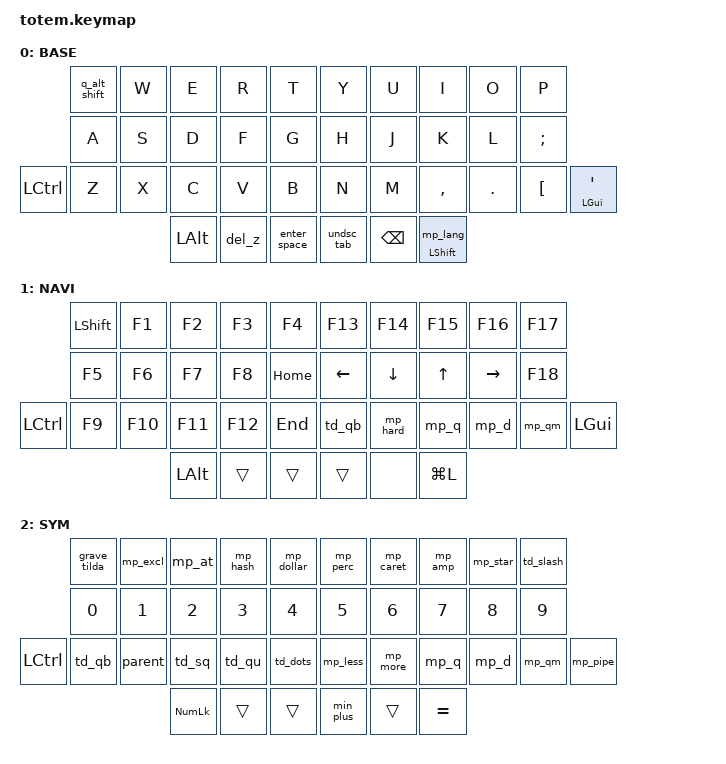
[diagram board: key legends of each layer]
//
//                                                        ▀▀▀▀▀     ▀▀▀▀▀          ▀▀█▀▀
//                                                        ▄▀▀▀▄  ▄  ▄▀▀▀▄  ▄  ▄▀▀▀▄  █  ▄▀▀▀▄
//                                                        █   █  █  █   █  █  █   █  █  █   █
//                                                         ▀▀▀   █   ▀▀▀   █   ▀▀▀   ▀   ▀▀▀
//                                                               █      ▄▄▄█▄▄▄    █   █  
//                                                               ▀      █  █  █     █▄█
//                                                             ▀▀▀▀▀    █  █  █      ▀
//                                                                      ▀  ▀  ▀
//
// ▄▄▄▄▄▄▄▄▄▄▄▄▄▄▄▄▄▄▄▄▄▄▄▄▄▄▄▄▄▄▄▄▄▄▄▄▄▄▄▄▄▄▄▄▄▄▄▄▄▄▄▄▄▄▄▄▄▄▄▄▄▄▄▄▄▄▄▄▄▄▄▄▄▄▄▄▄▄▄▄▄▄▄▄▄▄▄▄▄▄▄▄▄▄▄▄▄▄▄▄▄▄▄▄▄▄▄▄▄▄▄▄▄▄▄▄▄▄▄▄▄▄▄▄▄▄▄▄▄▄▄▄▄▄▄▄▄▄▄▄▄▄▄▄▄▄▄▄▄

#include <behaviors.dtsi>
#include <dt-bindings/zmk/bt.h>
#include <dt-bindings/zmk/keys.h>

#define BASE 0
#define NAV  1
#define SYM  2
#define ADJ  3
#define TVP1 4
#define TVP2 5

&mt {
    quick-tap-ms = <100>;
    global-quick-tap;
    flavor = "tap-preferred";
    tapping-term-ms = <170>;
};

/ {
    combos {
        compatible = "zmk,combos";

        combo_esc {
            timeout-ms = <50>;
            key-positions = <0 1>;
            bindings = <&kp ESC>;
        };

        bt_0 {
            bindings = <&bt BT_SEL 0>;
            key-positions = <0 10 21>;
        };

        bt_1 {
            bindings = <&bt BT_SEL 1>;
            key-positions = <1 11 22>;
        };

        bt_2 {
            bindings = <&bt BT_SEL 2>;
            key-positions = <2 12 23>;
        };

        bt_3 {
            bindings = <&bt BT_SEL 3>;
            key-positions = <3 24 13>;
        };

        bt_4 {
            bindings = <&bt BT_SEL 4>;
            key-positions = <4 14 25>;
        };

        print_screen {
            bindings = <&kp LS(LG(S))>;
            key-positions = <32 34 33>;
        };

        processes {
            bindings = <&kp LC(LA(DEL))>;
            key-positions = <36 37 35>;
        };

        bt_clr {
            bindings = <&bt BT_CLR>;
            key-positions = <7 17 28 5 15 26>;
        };

        bt_clr_all {
            bindings = <&bt BT_CLR_ALL>;
            key-positions = <7 17 28 2 12 23>;
        };
    };

    behaviors {
        enter_space: enter_space {
            compatible = "zmk,behavior-mod-morph";
            label = "ENTER_SPACE";
            bindings = <&lt 2 SPACE>, <&kp ENTER>;

            #binding-cells = <0>;
            mods = <(MOD_LCTL|MOD_LSFT|MOD_LALT)>;
            keep-mods = <(MOD_LSFT|MOD_LALT)>;
        };

        undsc_tab: undsc_tab {
            compatible = "zmk,behavior-mod-morph";
            label = "UNDSC_TAB";
            bindings = <&lt 1 UNDERSCORE>, <&kp TAB>;

            #binding-cells = <0>;
            mods = <(MOD_LCTL|MOD_LSFT|MOD_LALT)>;
            keep-mods = <(MOD_LSFT|MOD_LALT)>;
        };

        q_shift: q_shift {
            compatible = "zmk,behavior-mod-morph";
            label = "Q_SHIFT";
            bindings = <&mt LEFT_SHIFT Q>, <&kp LEFT_SHIFT>;

            #binding-cells = <0>;
            mods = <(MOD_LCTL)>;
            keep-mods = <(MOD_LCTL)>;
        };

        del_z: del_z {
            compatible = "zmk,behavior-mod-morph";
            label = "DEL_Z";
            bindings = <&kp DEL>, <&kp Z>;

            #binding-cells = <0>;
            mods = <(MOD_LCTL)>;
            keep-mods = <(MOD_LCTL)>;
        };

        grave_tilda: grave_tilda {
            compatible = "zmk,behavior-tap-dance";
            label = "GRAVE_TILDA";
            #binding-cells = <0>;
            bindings = <&mp_grave>, <&mp_tilda>;

            tapping-term-ms = <250>;
        };

        parent: parent {
            compatible = "zmk,behavior-tap-dance";
            label = "PARENT";
            #binding-cells = <0>;
            bindings = <&kp LEFT_PARENTHESIS>, <&kp RIGHT_PARENTHESIS>;

            tapping-term-ms = <250>;
        };

        min_plus: min_plus {
            compatible = "zmk,behavior-tap-dance";
            label = "MIN_PLUS";
            #binding-cells = <0>;
            bindings = <&kp KP_MINUS>, <&kp KP_PLUS>;

            tapping-term-ms = <250>;
        };

        td_slash: td_slash {
            compatible = "zmk,behavior-tap-dance";
            label = "TD_SLASH";
            #binding-cells = <0>;
            bindings = <&mp_fsl>, <&mp_bsl>;

            tapping-term-ms = <300>;
        };

        shift_lang: shift_lang {
            compatible = "zmk,behavior-hold-tap";
            label = "SHIFT_LANG";
            bindings = <&kp>, <&mp_lang>;

            #binding-cells = <2>;
            tapping-term-ms = <200>;
            flavor = "balanced";
        };

        td_qb: td_qb {
            compatible = "zmk,behavior-tap-dance";
            label = "TD_QB";
            #binding-cells = <0>;
            bindings = <&mp_l_qb>, <&mp_r_qb>;

            tapping-term-ms = <250>;
        };

        td_sq: td_sq {
            compatible = "zmk,behavior-tap-dance";
            label = "TD_SQ";
            #binding-cells = <0>;
            bindings = <&mp_l_sq>, <&mp_r_sq>;

            tapping-term-ms = <250>;
        };

        td_qu: td_qu {
            compatible = "zmk,behavior-tap-dance";
            label = "TD_QU";
            #binding-cells = <0>;
            bindings = <&mp_s_quote>, <&mp_d_quotes>;

            tapping-term-ms = <250>;
        };

        td_dots: td_dots {
            compatible = "zmk,behavior-tap-dance";
            label = "TD_DOTS";
            #binding-cells = <0>;
            bindings = <&mp_dd>, <&mp_dc>;

            tapping-term-ms = <250>;
        };

        q_alt_shift: q_alt_shift {
            compatible = "zmk,behavior-mod-morph";
            label = "Q_ALT_SHIFT";
            bindings = <&q_shift>, <&kp LA(TAB)>;

            #binding-cells = <0>;
            mods = <(MOD_LALT)>;
        };
    };

    macros {
        mp_excl: excl {
            compatible = "zmk,behavior-macro";
            #binding-cells = <0>;
            bindings =
                <&macro_press>,
                <&kp LEFT_ALT>,
                <&macro_tap>,
                <&kp KP_NUMBER_3 &kp KP_NUMBER_3>,
                <&macro_release>,
                <&kp LEFT_ALT>;

            label = "EXCL";
        };

        mp_hash: mp_hash {
            compatible = "zmk,behavior-macro";
            #binding-cells = <0>;
            bindings =
                <&macro_press>,
                <&kp LEFT_ALT>,
                <&macro_tap>,
                <&kp KP_NUMBER_3 &kp KP_NUMBER_5>,
                <&macro_release>,
                <&kp LEFT_ALT>;

            label = "MP_HASH";
        };

        mp_hard: mp_hard {
            compatible = "zmk,behavior-macro";
            #binding-cells = <0>;
            bindings =
                <&macro_press>,
                <&kp LEFT_ALT>,
                <&macro_tap>,
                <&kp KP_N0 &kp KP_NUMBER_2 &kp KP_NUMBER_5 &kp KP_NUMBER_0>,
                <&macro_release>,
                <&kp LEFT_ALT>;

            label = "MP_HARD";
        };

        mp_lang: mp_lang {
            compatible = "zmk,behavior-macro";
            #binding-cells = <0>;
            bindings =
                <&macro_press>,
                <&kp LEFT_ALT>,
                <&macro_tap>,
                <&kp LEFT_SHIFT>,
                <&macro_release>,
                <&kp LEFT_ALT>;

            label = "MP_LANG";
        };

        mp_l_qb: mp_l_qb {
            compatible = "zmk,behavior-macro";
            #binding-cells = <0>;
            bindings =
                <&macro_press>,
                <&kp LEFT_ALT>,
                <&macro_tap>,
                <&kp KP_NUMBER_1 &kp KP_NUMBER_2 &kp KP_NUMBER_3>,
                <&macro_release>,
                <&kp LEFT_ALT>;

            label = "MP_L_QB";
        };

        mp_r_qb: mp_r_qb {
            compatible = "zmk,behavior-macro";
            #binding-cells = <0>;
            bindings =
                <&macro_press>,
                <&kp LEFT_ALT>,
                <&macro_tap>,
                <&kp KP_NUMBER_1 &kp KP_NUMBER_2 &kp KP_NUMBER_5>,
                <&macro_release>,
                <&kp LEFT_ALT>;

            label = "MP_R_QB";
        };

        mp_l_sq: mp_l_sq {
            compatible = "zmk,behavior-macro";
            #binding-cells = <0>;
            bindings =
                <&macro_press>,
                <&kp LEFT_ALT>,
                <&macro_tap>,
                <&kp KP_NUMBER_9 &kp KP_NUMBER_1>,
                <&macro_release>,
                <&kp LEFT_ALT>;

            label = "MP_L_SQ";
        };

        mp_r_sq: mp_r_sq {
            compatible = "zmk,behavior-macro";
            #binding-cells = <0>;
            bindings =
                <&macro_press>,
                <&kp LEFT_ALT>,
                <&macro_tap>,
                <&kp KP_NUMBER_9 &kp KP_NUMBER_3>,
                <&macro_release>,
                <&kp LEFT_ALT>;

            label = "MP_R_SQ";
        };

        mp_s_quote: mp_s_quote {
            compatible = "zmk,behavior-macro";
            #binding-cells = <0>;
            bindings =
                <&macro_press>,
                <&kp LEFT_ALT>,
                <&macro_tap>,
                <&kp KP_NUMBER_3 &kp KP_NUMBER_9>,
                <&macro_release>,
                <&kp LEFT_ALT>;

            label = "MP_S_QUOTE";
        };

        mp_d_quotes: mp_d_quotes {
            compatible = "zmk,behavior-macro";
            #binding-cells = <0>;
            bindings =
                <&macro_press>,
                <&kp LEFT_ALT>,
                <&macro_tap>,
                <&kp KP_NUMBER_3 &kp KP_NUMBER_4>,
                <&macro_release>,
                <&kp LEFT_ALT>;

            label = "MP_D_QUOTES";
        };

        mp_dd: mp_dd {
            compatible = "zmk,behavior-macro";
            #binding-cells = <0>;
            bindings =
                <&macro_press>,
                <&kp LEFT_ALT>,
                <&macro_tap>,
                <&kp KP_NUMBER_5 &kp KP_NUMBER_8>,
                <&macro_release>,
                <&kp LEFT_ALT>;

            label = "MP_DD";
        };

        mp_dc: mp_dc {
            compatible = "zmk,behavior-macro";
            #binding-cells = <0>;
            bindings =
                <&macro_press>,
                <&kp LEFT_ALT>,
                <&macro_tap>,
                <&kp KP_NUMBER_5 &kp KP_NUMBER_9>,
                <&macro_release>,
                <&kp LEFT_ALT>;

            label = "MP_DC";
        };

        mp_amp: mp_amp {
            compatible = "zmk,behavior-macro";
            #binding-cells = <0>;
            bindings =
                <&macro_press>,
                <&kp LEFT_ALT>,
                <&macro_tap>,
                <&kp KP_NUMBER_3 &kp KP_NUMBER_8>,
                <&macro_release>,
                <&kp LEFT_ALT>;

            label = "MP_AMP";
        };

        mp_less: mp_less {
            compatible = "zmk,behavior-macro";
            #binding-cells = <0>;
            bindings =
                <&macro_press>,
                <&kp LEFT_ALT>,
                <&macro_tap>,
                <&kp KP_NUMBER_6 &kp KP_NUMBER_0>,
                <&macro_release>,
                <&kp LEFT_ALT>;

            label = "MP_LESS";
        };

        mp_more: mp_more {
            compatible = "zmk,behavior-macro";
            #binding-cells = <0>;
            bindings =
                <&macro_press>,
                <&kp LEFT_ALT>,
                <&macro_tap>,
                <&kp KP_NUMBER_6 &kp KP_NUMBER_2>,
                <&macro_release>,
                <&kp LEFT_ALT>;

            label = "MP_MORE";
        };

        mp_dollar: mp_dollar {
            compatible = "zmk,behavior-macro";
            #binding-cells = <0>;
            bindings =
                <&macro_press>,
                <&kp LEFT_ALT>,
                <&macro_tap>,
                <&kp KP_NUMBER_3 &kp KP_NUMBER_6>,
                <&macro_release>,
                <&kp LEFT_ALT>;

            label = "MP_DOLLAR";
        };

        mp_perc: mp_perc {
            compatible = "zmk,behavior-macro";
            #binding-cells = <0>;
            bindings =
                <&macro_press>,
                <&kp LEFT_ALT>,
                <&macro_tap>,
                <&kp KP_NUMBER_3 &kp KP_NUMBER_7>,
                <&macro_release>,
                <&kp LEFT_ALT>;

            label = "MP_PERC";
        };

        mp_caret: mp_caret {
            compatible = "zmk,behavior-macro";
            #binding-cells = <0>;
            bindings =
                <&macro_press>,
                <&kp LEFT_ALT>,
                <&macro_tap>,
                <&kp KP_NUMBER_9 &kp KP_NUMBER_4>,
                <&macro_release>,
                <&kp LEFT_ALT>;

            label = "MP_CARET";
        };

        mp_at: mp_at {
            compatible = "zmk,behavior-macro";
            #binding-cells = <0>;
            bindings =
                <&macro_press>,
                <&kp LEFT_ALT>,
                <&macro_tap>,
                <&kp KP_NUMBER_6 &kp KP_NUMBER_4>,
                <&macro_release>,
                <&kp LEFT_ALT>;

            label = "MP_AT";
        };

        mp_star: mp_star {
            compatible = "zmk,behavior-macro";
            #binding-cells = <0>;
            bindings =
                <&macro_press>,
                <&kp LEFT_ALT>,
                <&macro_tap>,
                <&kp KP_NUMBER_4 &kp KP_NUMBER_2>,
                <&macro_release>,
                <&kp LEFT_ALT>;

            label = "MP_STAR";
        };

        mp_q: mp_q {
            compatible = "zmk,behavior-macro";
            #binding-cells = <0>;
            bindings =
                <&macro_press>,
                <&kp LEFT_ALT>,
                <&macro_tap>,
                <&kp KP_NUMBER_4 &kp KP_NUMBER_4>,
                <&macro_release>,
                <&kp LEFT_ALT>;

            label = "MP_Q";
        };

        mp_d: mp_d {
            compatible = "zmk,behavior-macro";
            #binding-cells = <0>;
            bindings =
                <&macro_press>,
                <&kp LEFT_ALT>,
                <&macro_tap>,
                <&kp KP_NUMBER_4 &kp KP_NUMBER_6>,
                <&macro_release>,
                <&kp LEFT_ALT>;

            label = "MP_D";
        };

        mp_qm: mp_qm {
            compatible = "zmk,behavior-macro";
            #binding-cells = <0>;
            bindings =
                <&macro_press>,
                <&kp LEFT_ALT>,
                <&macro_tap>,
                <&kp KP_NUMBER_6 &kp KP_NUMBER_3>,
                <&macro_release>,
                <&kp LEFT_ALT>;

            label = "MP_QM";
        };

        mp_pipe: mp_pipe {
            compatible = "zmk,behavior-macro";
            #binding-cells = <0>;
            bindings =
                <&macro_press>,
                <&kp LEFT_ALT>,
                <&macro_tap>,
                <&kp KP_NUMBER_1 &kp KP_NUMBER_2 &kp KP_NUMBER_4>,
                <&macro_release>,
                <&kp LEFT_ALT>;

            label = "MP_PIPE";
        };

        mp_fsl: mp_fsl {
            compatible = "zmk,behavior-macro";
            #binding-cells = <0>;
            bindings =
                <&macro_press>,
                <&kp LEFT_ALT>,
                <&macro_tap>,
                <&kp KP_NUMBER_4 &kp KP_NUMBER_7>,
                <&macro_release>,
                <&kp LEFT_ALT>;

            label = "MP_FSL";
        };

        mp_bsl: mp_bsl {
            compatible = "zmk,behavior-macro";
            #binding-cells = <0>;
            bindings =
                <&macro_press>,
                <&kp LEFT_ALT>,
                <&macro_tap>,
                <&kp KP_NUMBER_9 &kp KP_NUMBER_2>,
                <&macro_release>,
                <&kp LEFT_ALT>;

            label = "MP_BSL";
        };

        mp_grave: mp_grave {
            compatible = "zmk,behavior-macro";
            #binding-cells = <0>;
            bindings =
                <&macro_press>,
                <&kp LEFT_ALT>,
                <&macro_tap>,
                <&kp KP_NUMBER_9 &kp KP_NUMBER_6>,
                <&macro_release>,
                <&kp LEFT_ALT>;

            label = "MP_GRAVE";
        };

        mp_tilda: mp_tilda {
            compatible = "zmk,behavior-macro";
            #binding-cells = <0>;
            bindings =
                <&macro_press>,
                <&kp LEFT_ALT>,
                <&macro_tap>,
                <&kp KP_NUMBER_1 &kp KP_NUMBER_2 &kp KP_NUMBER_6>,
                <&macro_release>,
                <&kp LEFT_ALT>;

            label = "MP_TILDA";
        };
    };

    keymap {
        compatible = "zmk,keymap";

        // ▄▄▄▄▄▄▄▄▄▄▄▄▄▄▄▄▄▄▄▄▄▄▄▄▄▄▄▄▄▄▄▄▄▄▄▄▄▄▄▄▄▄▄▄▄▄▄▄▄▄▄▄▄▄▄▄▄▄▄▄▄▄▄▄▄▄▄▄▄▄▄▄▄▄▄▄▄▄▄▄▄▄▄▄▄▄▄▄▄▄▄▄▄▄▄▄▄▄▄▄▄▄▄▄▄▄▄▄▄▄▄▄▄▄▄▄▄▄▄▄▄▄▄▄▄▄▄▄▄▄▄▄▄▄▄▄▄▄▄▄▄▄▄▄▄▄▄▄▄

        base {
            // ┏━━━━━━━━━━━━━━━━━━━━━━━━━━━━━━━━━━━━━━━┓

            label = "BASE";

            // ┗━━━━━━━━━━━━━━━━━━━━━━━━━━━━━━━━━━━━━━━┛
            //             ┏━━━━━━━━━━━┳━━━━━━━━━━━┳━━━━━━━━━━━┳━━━━━━━━━━━┳━━━━━━━━━━━┓   ┏━━━━━━━━━━━┳━━━━━━━━━━━┳━━━━━━━━━━━┳━━━━━━━━━━━┳━━━━━━━━━━━┓
            //             ┃     Q     ┃     W     ┃     F     ┃     P     ┃     G     ┃   ┃     J     ┃     L     ┃     U     ┃     Y     ┃     ;     ┃
            //             ┣━━━━━━━━━━━╋━━━━━━━━━━━╋━━━━━━━━━━━╋━━━━━━━━━━━╋━━━━━━━━━━━┫   ┣━━━━━━━━━━━╋━━━━━━━━━━━╋━━━━━━━━━━━╋━━━━━━━━━━━╋━━━━━━━━━━━┫
            //             ┃     A     ┃     R     ┃     S     ┃     T     ┃     D     ┃   ┃     H     ┃     N     ┃     E     ┃     I     ┃     O     ┃
            // ┏━━━━━━━━━━━╋━━━━━━━━━━━╋━━━━━━━━━━━╋━━━━━━━━━━━╋━━━━━━━━━━━╋━━━━━━━━━━━┫   ┣━━━━━━━━━━━╋━━━━━━━━━━━╋━━━━━━━━━━━╋━━━━━━━━━━━╋━━━━━━━━━━━╋━━━━━━━━━━━┓
            // ┃     Q     ┃     Z     ┃     X     ┃     C     ┃     V     ┃     B     ┃   ┃     K     ┃     M     ┃     ,     ┃     .     ┃     /     ┃     \     ┃
            // ┗━━━━━━━━━━━┻━━━━━━━━━━━┻━━━━━━━━━━━╋━━━━━━━━━━━╋━━━━━━━━━━━╋━━━━━━━━━━━┫   ┣━━━━━━━━━━━╋━━━━━━━━━━━╋━━━━━━━━━━━╋━━━━━━━━━━━┻━━━━━━━━━━━┻━━━━━━━━━━━┛
            //                                     ┃    DEL    ┃    TAB    ┃    SPC    ┃   ┃   ENTER   ┃           ┃   BSPC    ┃
            //                                     ┗━━━━━━━━━━━┻━━━━━━━━━━━┻━━━━━━━━━━━┛   ┗━━━━━━━━━━━┻━━━━━━━━━━━┻━━━━━━━━━━━┛

            bindings = <
           &q_alt_shift  &kp W  &kp E     &kp R   &kp T           &kp Y       &kp U     &kp I                &kp O    &kp P
           &kp A         &kp S  &kp D     &kp F   &kp G           &kp H       &kp J     &kp K                &kp L    &kp SEMI
&kp LCTRL  &kp Z         &kp X  &kp C     &kp V   &kp B           &kp N       &kp M     &kp COMMA            &kp DOT  &kp LEFT_BRACKET  &mt LEFT_GUI SQT
                                &kp LALT  &del_z  &enter_space    &undsc_tab  &kp BSPC  &shift_lang LSHFT 0
            >;
        };

        // ▄▄▄▄▄▄▄▄▄▄▄▄▄▄▄▄▄▄▄▄▄▄▄▄▄▄▄▄▄▄▄▄▄▄▄▄▄▄▄▄▄▄▄▄▄▄▄▄▄▄▄▄▄▄▄▄▄▄▄▄▄▄▄▄▄▄▄▄▄▄▄▄▄▄▄▄▄▄▄▄▄▄▄▄▄▄▄▄▄▄▄▄▄▄▄▄▄▄▄▄▄▄▄▄▄▄▄▄▄▄▄▄▄▄▄▄▄▄▄▄▄▄▄▄▄▄▄▄▄▄▄▄▄▄▄▄▄▄▄▄▄▄▄▄▄▄▄▄▄

        nav {
            // ┏━━━━━━━━━━━━━━━━━━━━━━━━━━━━━━━━━━━━━━━┓

            label = "NAVI";

            // ┗━━━━━━━━━━━━━━━━━━━━━━━━━━━━━━━━━━━━━━━┛
            //             ┏━━━━━━━━━━━┳━━━━━━━━━━━┳━━━━━━━━━━━┳━━━━━━━━━━━┳━━━━━━━━━━━┓   ┏━━━━━━━━━━━┳━━━━━━━━━━━┳━━━━━━━━━━━┳━━━━━━━━━━━┳━━━━━━━━━━━┓
            //             ┃           ┃           ┃     UP    ┃           ┃     {     ┃   ┃     }     ┃     7     ┃     8     ┃     9     ┃     +     ┃
            //             ┣━━━━━━━━━━━╋━━━━━━━━━━━╋━━━━━━━━━━━╋━━━━━━━━━━━╋━━━━━━━━━━━┫   ┣━━━━━━━━━━━╋━━━━━━━━━━━╋━━━━━━━━━━━╋━━━━━━━━━━━╋━━━━━━━━━━━┫
            //             ┃   SHIFT   ┃   LEFT    ┃    DOWN   ┃   RIGHT   ┃     [     ┃   ┃     ]     ┃     4     ┃     5     ┃     6     ┃     -     ┃
            // ┏━━━━━━━━━━━╋━━━━━━━━━━━╋━━━━━━━━━━━╋━━━━━━━━━━━╋━━━━━━━━━━━╋━━━━━━━━━━━┫   ┣━━━━━━━━━━━╋━━━━━━━━━━━╋━━━━━━━━━━━╋━━━━━━━━━━━╋━━━━━━━━━━━╋━━━━━━━━━━━┓
            // ┃           ┃           ┃   P UP    ┃  C LOCK   ┃  P DOWN   ┃     (     ┃   ┃     )     ┃     1     ┃     2     ┃     3     ┃     *     ┃           ┃
            // ┗━━━━━━━━━━━┻━━━━━━━━━━━┻━━━━━━━━━━━╋━━━━━━━━━━━╋━━━━━━━━━━━╋━━━━━━━━━━━┫   ┣━━━━━━━━━━━╋━━━━━━━━━━━╋━━━━━━━━━━━╋━━━━━━━━━━━┻━━━━━━━━━━━┻━━━━━━━━━━━┛
            //                                     ┃           ┃    TAB    ┃    SPC    ┃   ┃    DEL    ┃     0     ┃           ┃
            //                                     ┗━━━━━━━━━━━┻━━━━━━━━━━━┻━━━━━━━━━━━┛   ┗━━━━━━━━━━━┻━━━━━━━━━━━┻━━━━━━━━━━━┛

            bindings = <
           &kp LEFT_SHIFT  &kp F1   &kp F2        &kp F3   &kp F4      &kp F13   &kp F14         &kp F15    &kp F16    &kp F17
           &kp F5          &kp F6   &kp F7        &kp F8   &kp HOME    &kp LEFT  &kp DOWN_ARROW  &kp UP     &kp RIGHT  &kp F18
&kp LCTRL  &kp F9          &kp F10  &kp F11       &kp F12  &kp END     &td_qb    &mp_hard        &mp_q      &mp_d      &mp_qm   &kp LEFT_GUI
                                    &kp LEFT_ALT  &trans   &trans      &trans    &none           &kp LG(L)
            >;
        };

        // ▄▄▄▄▄▄▄▄▄▄▄▄▄▄▄▄▄▄▄▄▄▄▄▄▄▄▄▄▄▄▄▄▄▄▄▄▄▄▄▄▄▄▄▄▄▄▄▄▄▄▄▄▄▄▄▄▄▄▄▄▄▄▄▄▄▄▄▄▄▄▄▄▄▄▄▄▄▄▄▄▄▄▄▄▄▄▄▄▄▄▄▄▄▄▄▄▄▄▄▄▄▄▄▄▄▄▄▄▄▄▄▄▄▄▄▄▄▄▄▄▄▄▄▄▄▄▄▄▄▄▄▄▄▄▄▄▄▄▄▄▄▄▄▄▄▄▄▄▄

        sym {
            // ┏━━━━━━━━━━━━━━━━━━━━━━━━━━━━━━━━━━━━━━━┓

            label = "SYM";

            // ┗━━━━━━━━━━━━━━━━━━━━━━━━━━━━━━━━━━━━━━━┛
            //             ┏━━━━━━━━━━━┳━━━━━━━━━━━┳━━━━━━━━━━━┳━━━━━━━━━━━┳━━━━━━━━━━━┓   ┏━━━━━━━━━━━┳━━━━━━━━━━━┳━━━━━━━━━━━┳━━━━━━━━━━━┳━━━━━━━━━━━┓
            //             ┃     !     ┃     @     ┃     #     ┃     $     ┃     %     ┃   ┃     ˆ     ┃     &     ┃     Ü     ┃     '     ┃     "     ┃
            //             ┣━━━━━━━━━━━╋━━━━━━━━━━━╋━━━━━━━━━━━╋━━━━━━━━━━━╋━━━━━━━━━━━┫   ┣━━━━━━━━━━━╋━━━━━━━━━━━╋━━━━━━━━━━━╋━━━━━━━━━━━╋━━━━━━━━━━━┫
            //             ┃     Ä     ┃           ┃    SZ     ┃           ┃           ┃   ┃   MUTE    ┃   YEN     ┃   EURO    ┃  POUND    ┃     Ö     ┃
            // ┏━━━━━━━━━━━╋━━━━━━━━━━━╋━━━━━━━━━━━╋━━━━━━━━━━━╋━━━━━━━━━━━╋━━━━━━━━━━━┫   ┣━━━━━━━━━━━╋━━━━━━━━━━━╋━━━━━━━━━━━╋━━━━━━━━━━━╋━━━━━━━━━━━╋━━━━━━━━━━━┓
            // ┃           ┃  EMAIL1   ┃  EMAIL2   ┃           ┃           ┃           ┃   ┃   VOL-    ┃   VOL+    ┃   LAST    ┃   NEXT    ┃     \     ┃           ┃
            // ┗━━━━━━━━━━━┻━━━━━━━━━━━┻━━━━━━━━━━━╋━━━━━━━━━━━╋━━━━━━━━━━━╋━━━━━━━━━━━┫   ┣━━━━━━━━━━━╋━━━━━━━━━━━╋━━━━━━━━━━━╋━━━━━━━━━━━┻━━━━━━━━━━━┻━━━━━━━━━━━┛
            //                                     ┃           ┃    GIF    ┃    ADJ    ┃   ┃           ┃           ┃           ┃
            //                                     ┗━━━━━━━━━━━┻━━━━━━━━━━━┻━━━━━━━━━━━┛   ┗━━━━━━━━━━━┻━━━━━━━━━━━┻━━━━━━━━━━━┛

            bindings = <
           &grave_tilda  &mp_excl  &mp_at      &mp_hash  &mp_dollar    &mp_perc   &mp_caret  &mp_amp    &mp_star  &td_slash
           &kp N0        &kp N1    &kp N2      &kp N3    &kp N4        &kp N5     &kp N6     &kp N7     &kp N8    &kp N9
&kp LCTRL  &td_qb        &parent   &td_sq      &td_qu    &td_dots      &mp_less   &mp_more   &mp_q      &mp_d     &mp_qm     &mp_pipe
                                   &kp KP_NUM  &trans    &trans        &min_plus  &trans     &kp EQUAL
            >;
        };

        // ▄▄▄▄▄▄▄▄▄▄▄▄▄▄▄▄▄▄▄▄▄▄▄▄▄▄▄▄▄▄▄▄▄▄▄▄▄▄▄▄▄▄▄▄▄▄▄▄▄▄▄▄▄▄▄▄▄▄▄▄▄▄▄▄▄▄▄▄▄▄▄▄▄▄▄▄▄▄▄▄▄▄▄▄▄▄▄▄▄▄▄▄▄▄▄▄▄▄▄▄▄▄▄▄▄▄▄▄▄▄▄▄▄▄▄▄▄▄▄▄▄▄▄▄▄▄▄▄▄▄▄▄▄▄▄▄▄▄▄▄▄▄▄▄▄▄▄▄▄
        // ▄▄▄▄▄▄▄▄▄▄▄▄▄▄▄▄▄▄▄▄▄▄▄▄▄▄▄▄▄▄▄▄▄▄▄▄▄▄▄▄▄▄▄▄▄▄▄▄▄▄▄▄▄▄▄▄▄▄▄▄▄▄▄▄▄▄▄▄▄▄▄▄▄▄▄▄▄▄▄▄▄▄▄▄▄▄▄▄▄▄▄▄▄▄▄▄▄▄▄▄▄▄▄▄▄▄▄▄▄▄▄▄▄▄▄▄▄▄▄▄▄▄▄▄▄▄▄▄▄▄▄▄▄▄▄▄▄▄▄▄▄▄▄▄▄▄▄▄▄
        // ▄▄▄▄▄▄▄▄▄▄▄▄▄▄▄▄▄▄▄▄▄▄▄▄▄▄▄▄▄▄▄▄▄▄▄▄▄▄▄▄▄▄▄▄▄▄▄▄▄▄▄▄▄▄▄▄▄▄▄▄▄▄▄▄▄▄▄▄▄▄▄▄▄▄▄▄▄▄▄▄▄▄▄▄▄▄▄▄▄▄▄▄▄▄▄▄▄▄▄▄▄▄▄▄▄▄▄▄▄▄▄▄▄▄▄▄▄▄▄▄▄▄▄▄▄▄▄▄▄▄▄▄▄▄▄▄▄▄▄▄▄▄▄▄▄▄▄▄▄
    };
};
